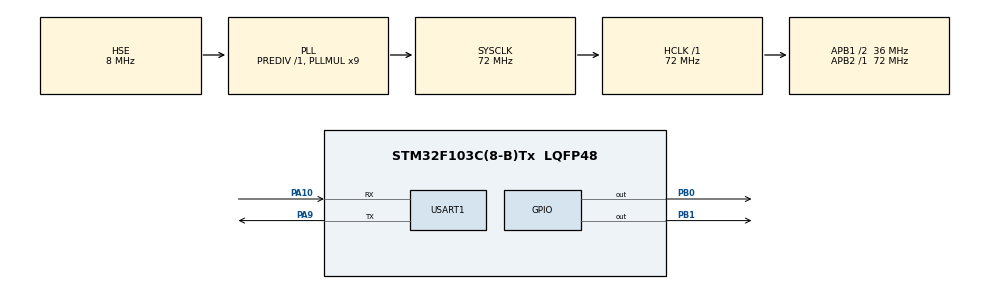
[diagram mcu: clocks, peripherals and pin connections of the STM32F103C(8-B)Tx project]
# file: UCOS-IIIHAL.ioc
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Mcu.Family=STM32F1
Mcu.Name=STM32F103C(8-B)Tx
Mcu.Package=LQFP48
NVIC.PriorityGroup=NVIC_PRIORITYGROUP_4
PA10.Mode=Asynchronous
PA10.Signal=USART1_RX
PA13.Mode=Serial_Wire
PA13.Signal=SYS_JTMS-SWDIO
PA14.Mode=Serial_Wire
PA14.Signal=SYS_JTCK-SWCLK
PA9.Mode=Asynchronous
PA9.Signal=USART1_TX
PB0.Signal=GPIO_Output
PB1.Signal=GPIO_Output
PD0-OSC_IN.Mode=HSE-External-Oscillator
PD0-OSC_IN.Signal=RCC_OSC_IN
PD1-OSC_OUT.Mode=HSE-External-Oscillator
PD1-OSC_OUT.Signal=RCC_OSC_OUT
ProjectManager.HeapSize=0x200
ProjectManager.StackSize=0x400
ProjectManager.TargetToolchain=MDK-ARM V5
RCC.AHBFreq_Value=72000000
RCC.APB1CLKDivider=RCC_HCLK_DIV2
RCC.APB1Freq_Value=36000000
RCC.APB1TimFreq_Value=72000000
RCC.APB2Freq_Value=72000000
RCC.APB2TimFreq_Value=72000000
RCC.HCLKFreq_Value=72000000
RCC.PLLMUL=RCC_PLL_MUL9
RCC.PLLSourceVirtual=RCC_PLLSOURCE_HSE
RCC.SYSCLKFreq_VALUE=72000000
RCC.SYSCLKSource=RCC_SYSCLKSOURCE_PLLCLK
RCC.USBFreq_Value=72000000
USART1.VirtualMode=VM_ASYNC
board=custom

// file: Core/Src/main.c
/* USER CODE BEGIN Header */
/**
  ******************************************************************************
  * @file           : main.c
  * @brief          : Main program body
  ******************************************************************************
  * @attention
  *
  * Copyright (c) 2025 STMicroelectronics.
  * All rights reserved.
  *
  * This software is licensed under terms that can be found in the LICENSE file
  * in the root directory of this software component.
  * If no LICENSE file comes with this software, it is provided AS-IS.
  *
  ******************************************************************************
  */
/* USER CODE END Header */
#include "main.h"
#include "usart.h"
#include "gpio.h"
#include "stm32f1xx_hal.h"  // 确保HAL库核心定义包含
#include "app_cfg.h"
/* USER CODE BEGIN Includes */
#include <includes.h>   // uC/OS-III头文件
/* USER CODE END Includes */

/* USER CODE BEGIN PD */

// 3. 补全LED引脚操作宏（解决LED0_TOGGLE未声明错误，需与gpio.h一致）
// 假设LED0接PA0、LED1接PA1（若实际硬件不同，修改引脚和端口即可）
#define LED0_PIN    GPIO_PIN_0
#define LED0_PORT   GPIOB
#define LED1_PIN    GPIO_PIN_1
#define LED1_PORT   GPIOB
#define LED0_TOGGLE()  HAL_GPIO_TogglePin(LED0_PORT, LED0_PIN)
#define LED1_TOGGLE()  HAL_GPIO_TogglePin(LED1_PORT, LED1_PIN)
/* USER CODE END PD */

/* USER CODE BEGIN PV */
// 声明外部串口句柄（定义在usart.c中）
extern UART_HandleTypeDef huart1;

// 任务控制块（TCB）
static OS_TCB   AppTaskStartTCB;    // 启动任务TCB
static OS_TCB   AppTaskLed0TCB;     // LED0任务TCB
static OS_TCB   AppTaskLed1TCB;     // LED1任务TCB
static OS_TCB   AppTaskUartTCB;     // 串口任务TCB

// 任务堆栈（使用上面定义的宏，解决未定义错误）
static CPU_STK  AppTaskStartStk[APP_TASK_START_STK_SIZE];
static CPU_STK  AppTaskLed0Stk[APP_TASK_LED0_STK_SIZE];
static CPU_STK  AppTaskLed1Stk[APP_TASK_LED1_STK_SIZE];
static CPU_STK  AppTaskUartStk[APP_TASK_UART_STK_SIZE];

// 任务函数声明（后续实现，解决“未引用”警告）
static void AppTaskStart(void *p_arg);    // 启动任务：创建其他任务
static void AppTaskLed0(void *p_arg);     // LED0闪烁任务（1s周期）
static void AppTaskLed1(void *p_arg);     // LED1闪烁任务（3s周期）
static void AppTaskUart(void *p_arg);     // 串口发送任务（2s周期）
/* USER CODE END PV */

// 仅声明一次SystemClock_Config，解决重复定义错误
void SystemClock_Config(void);

/* USER CODE BEGIN 0 */
/**
  * @brief 系统时钟配置（72MHz，基于HSE）
  * @retval None
  */
void SystemClock_Config(void)
{
  RCC_OscInitTypeDef RCC_OscInitStruct = {0};
  RCC_ClkInitTypeDef RCC_ClkInitStruct = {0};

  // 初始化外部高速时钟（HSE）和PLL
  RCC_OscInitStruct.OscillatorType = RCC_OSCILLATORTYPE_HSE;
  RCC_OscInitStruct.HSEState = RCC_HSE_ON;
  RCC_OscInitStruct.HSEPredivValue = RCC_HSE_PREDIV_DIV1;
  RCC_OscInitStruct.HSIState = RCC_HSI_ON;
  RCC_OscInitStruct.PLL.PLLState = RCC_PLL_ON;
  RCC_OscInitStruct.PLL.PLLSource = RCC_PLLSOURCE_HSE;
  RCC_OscInitStruct.PLL.PLLMUL = RCC_PLL_MUL9;  // 8MHz HSE *9 =72MHz
  if (HAL_RCC_OscConfig(&RCC_OscInitStruct) != HAL_OK)
  {
    Error_Handler();
  }

  // 配置系统时钟、AHB和APB总线时钟
  RCC_ClkInitStruct.ClockType = RCC_CLOCKTYPE_HCLK|RCC_CLOCKTYPE_SYSCLK
                              |RCC_CLOCKTYPE_PCLK1|RCC_CLOCKTYPE_PCLK2;
  RCC_ClkInitStruct.SYSCLKSource = RCC_SYSCLKSOURCE_PLLCLK;
  RCC_ClkInitStruct.AHBCLKDivider = RCC_SYSCLK_DIV1;    // HCLK=72MHz
  RCC_ClkInitStruct.APB1CLKDivider = RCC_HCLK_DIV2;     // PCLK1=36MHz
  RCC_ClkInitStruct.APB2CLKDivider = RCC_HCLK_DIV1;     // PCLK2=72MHz
  if (HAL_RCC_ClockConfig(&RCC_ClkInitStruct, FLASH_LATENCY_2) != HAL_OK)
  {
    Error_Handler();
  }
}

/**
  * @brief 启动任务：创建其他应用任务后删除自身
  * @param p_arg: 任务参数（未使用）
  * @retval 无
  */
static void AppTaskStart(void *p_arg)
{
  OS_ERR  err;
  (void)p_arg;  // 消除未使用参数警告

  // 初始化uC/OS-III推荐组件
  BSP_Init();
  CPU_Init();
  Mem_Init();

#if OS_CFG_STAT_TASK_EN > 0u
  OSStatTaskCPUUsageInit(&err);  // 初始化CPU使用率统计（可选）
#endif

  // 1. 创建LED0任务（1s周期闪烁）
  OSTaskCreate((OS_TCB     *)&AppTaskLed0TCB,
               (CPU_CHAR   *)"LED0 Task",
               (OS_TASK_PTR )AppTaskLed0,
               (void       *)0,
               (OS_PRIO     )APP_TASK_LED0_PRIO,
               (CPU_STK    *)&AppTaskLed0Stk[0],
               (CPU_STK_SIZE)APP_TASK_LED0_STK_SIZE / 10,
               (CPU_STK_SIZE)APP_TASK_LED0_STK_SIZE,
               (OS_MSG_QTY  )0,
               (OS_TICK     )0,
               (void       *)0,
               (OS_OPT      )(OS_OPT_TASK_STK_CHK | OS_OPT_TASK_STK_CLR),
               (OS_ERR     *)&err);

  // 2. 创建LED1任务（3s周期闪烁）
  OSTaskCreate((OS_TCB     *)&AppTaskLed1TCB,
               (CPU_CHAR   *)"LED1 Task",
               (OS_TASK_PTR )AppTaskLed1,
               (void       *)0,
               (OS_PRIO     )APP_TASK_LED1_PRIO,
               (CPU_STK    *)&AppTaskLed1Stk[0],
               (CPU_STK_SIZE)APP_TASK_LED1_STK_SIZE / 10,
               (CPU_STK_SIZE)APP_TASK_LED1_STK_SIZE,
               (OS_MSG_QTY  )0,
               (OS_TICK     )0,
               (void       *)0,
               (OS_OPT      )(OS_OPT_TASK_STK_CHK | OS_OPT_TASK_STK_CLR),
               (OS_ERR     *)&err);

  // 3. 创建串口发送任务（2s周期）
  OSTaskCreate((OS_TCB     *)&AppTaskUartTCB,
               (CPU_CHAR   *)"UART Task",
               (OS_TASK_PTR )AppTaskUart,
               (void       *)0,
               (OS_PRIO     )APP_TASK_UART_PRIO,
               (CPU_STK    *)&AppTaskUartStk[0],
               (CPU_STK_SIZE)APP_TASK_UART_STK_SIZE / 10,
               (CPU_STK_SIZE)APP_TASK_UART_STK_SIZE,
               (OS_MSG_QTY  )0,
               (OS_TICK     )0,
               (void       *)0,
               (OS_OPT      )(OS_OPT_TASK_STK_CHK | OS_OPT_TASK_STK_CLR),
               (OS_ERR     *)&err);

  // 启动任务完成使命，删除自身释放资源
  OSTaskDel((OS_TCB *)0, &err);  // 参数为0表示删除当前任务

  while (DEF_TRUE)  // 理论上不会执行
  {
    OSTimeDlyHMSM(0, 0, 1, 0, OS_OPT_TIME_HMSM_STRICT, &err);
  }
}

/**
  * @brief LED0任务：1s周期闪烁（500ms亮/500ms灭）
  * @param p_arg: 任务参数（未使用）
  * @retval 无
  */
static void AppTaskLed0(void *p_arg)
{
  OS_ERR err;
  (void)p_arg;

  while (DEF_TRUE)
  {
    LED0_TOGGLE();  // 翻转LED0状态
    // 延时500ms（1s周期），使用uC/OS-III延时函数（避免HAL_Delay冲突）
    OSTimeDlyHMSM(0, 0, 0, 500, OS_OPT_TIME_HMSM_STRICT, &err);
  }
}

/**
  * @brief LED1任务：3s周期闪烁（1.5s亮/1.5s灭）
  * @param p_arg: 任务参数（未使用）
  * @retval 无
  */
static void AppTaskLed1(void *p_arg)
{
  OS_ERR err;
  (void)p_arg;

  while (DEF_TRUE)
  {
    LED1_TOGGLE();  // 翻转LED1状态
    // 延时1.5s（3s周期）
    OSTimeDlyHMSM(0, 0, 1, 500, OS_OPT_TIME_HMSM_STRICT, &err);
  }
}

/**
  * @brief 串口任务：2s周期发送字符串
  * @param p_arg: 任务参数（未使用）
  * @retval 无
  */
static void AppTaskUart(void *p_arg)
{
  OS_ERR err;
  (void)p_arg;
  // 要发送的字符串（包含换行符，方便串口助手查看）
  uint8_t uart_msg[] = "hello uc/OS! 欢迎来到RTOS多任务环境！\r\n";

  while (DEF_TRUE)
  {
    // 阻塞式发送字符串（超时100ms）
    HAL_UART_Transmit(&huart1, uart_msg, sizeof(uart_msg)-1, 100);
    // 延时2s（发送周期）
    OSTimeDlyHMSM(0, 0, 2, 0, OS_OPT_TIME_HMSM_STRICT, &err);
  }
}
/* USER CODE END 0 */

int main(void)
{
  /* USER CODE BEGIN 1 */
  OS_ERR  err;
  /* USER CODE END 1 */

  /* MCU Configuration--------------------------------------------------------*/

  /* Reset of all peripherals, Initializes the Flash interface and the Systick. */
  HAL_Init();

  /* Configure the system clock */
  SystemClock_Config();

  /* USER CODE BEGIN SysInit */
  OSInit(&err);  // 初始化uC/OS-III内核
  /* USER CODE END SysInit */

  /* Initialize all configured peripherals */
  MX_GPIO_Init();
  MX_USART1_UART_Init();
  /* USER CODE BEGIN 2 */
  // 创建启动任务（uC/OS-III多任务入口）
  OSTaskCreate((OS_TCB     *)&AppTaskStartTCB,
               (CPU_CHAR   *)"App Task Start",
               (OS_TASK_PTR )AppTaskStart,
               (void       *)0,
               (OS_PRIO     )APP_TASK_START_PRIO,
               (CPU_STK    *)&AppTaskStartStk[0],
               (CPU_STK_SIZE)APP_TASK_START_STK_SIZE / 10,
               (CPU_STK_SIZE)APP_TASK_START_STK_SIZE,
               (OS_MSG_QTY  )0,
               (OS_TICK     )0,
               (void       *)0,
               (OS_OPT      )(OS_OPT_TASK_STK_CHK | OS_OPT_TASK_STK_CLR),
               (OS_ERR     *)&err);

  // 启动uC/OS-III内核（启动后进入多任务调度）
  OSStart(&err);
  /* USER CODE END 2 */

  /* Infinite loop（OSStart后不会执行到这里） */
  while (1)
  {

  }
}

void Error_Handler(void)
{
  /* USER CODE BEGIN Error_Handler_Debug */
  while (1)
  {
    LED0_TOGGLE();  // 错误时LED0快速闪烁（200ms周期）
    HAL_Delay(200);
  }
  /* USER CODE END Error_Handler_Debug */
}

#ifdef  USE_FULL_ASSERT
/**
  * @brief  Reports the name of the source file and the source line number
  *         where the assert_param error has occurred.
  * @param  file: pointer to the source file name
  * @param  line: assert_param error line source number
  * @retval None
  */
void assert_failed(uint8_t *file, uint32_t line)
{
  /* USER CODE BEGIN 6 */
  // 断言失败时通过串口输出错误信息（需确保printf已重定向）
  printf("Assert failed: file %s on line %d\r\n", file, line);
  /* USER CODE END 6 */
}
#endif /* USE_FULL_ASSERT */
